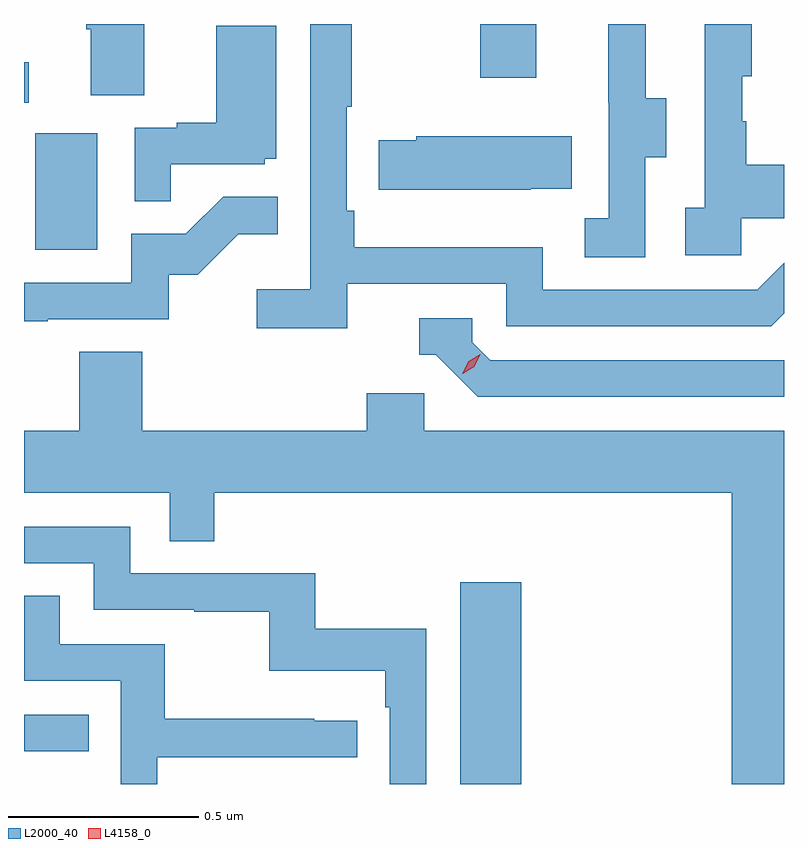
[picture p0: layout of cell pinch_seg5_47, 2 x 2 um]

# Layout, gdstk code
import gdstk
lib = gdstk.Library(unit=1e-6, precision=1e-09)
def R(c, l, rs):  # rectangles x0, y0, x1, y1
    for r in rs: c.add(gdstk.rectangle(r[:2], r[2:], *l))
def P(c, l, *ps):  # polygons
    for p in ps: c.add(gdstk.Polygon(p, *l))
L2000_40 = (2000, 40)
L4158_0 = (4158, 0)

pinch_seg5_47 = lib.new_cell('pinch_seg5_47')
R(pinch_seg5_47, L2000_40, [(1108.607,894.622,1108.768,895.153), (1107.459,894.708,1107.629,894.804), (1107.488,896.028,1107.652,896.335), (1107.459,896.415,1107.472,896.521), (1108.66,896.481,1108.807,896.622)])
P(pinch_seg5_47, L2000_40, [(1109.346,896.111),(1109.459,896.111),(1109.459,896.251),(1109.359,896.251),(1109.359,896.366),(1109.349,896.366),(1109.349,896.484),(1109.374,896.484),(1109.374,896.622),(1109.25,896.622),(1109.25,896.138),(1109.199,896.138),(1109.199,896.013),(1109.346,896.013)],
  [(1108.31,895.938),(1108.728,895.938),(1108.728,895.827),(1109.425,895.827),(1109.459,895.861),(1109.459,895.994),(1109.388,895.923),(1108.824,895.923),(1108.824,896.035),(1108.328,896.035),(1108.328,896.131),(1108.308,896.131),(1108.308,896.404),(1108.321,896.404),(1108.321,896.622),(1108.212,896.622),(1108.212,895.924),(1108.071,895.924),(1108.071,895.822),(1108.31,895.822)],
  [(1109.094,896.272),(1109.149,896.272),(1109.149,896.427),(1109.095,896.427),(1109.095,896.622),(1108.997,896.622),(1108.997,896.415),(1108.998,896.415),(1108.998,896.111),(1108.935,896.111),(1108.935,896.008),(1109.094,896.008)],
  [(1107.775,896.622),(1107.623,896.622),(1107.623,896.608),(1107.635,896.608),(1107.635,896.434),(1107.775,896.434)],
  [(1107.845,896.253),(1108.092,896.253),(1108.092,896.268),(1108.123,896.268),(1108.123,896.617),(1107.965,896.617),(1107.965,896.362),(1107.861,896.362),(1107.861,896.349),(1107.75,896.349),(1107.75,896.155),(1107.845,896.155)],
  [(1108.793,896.189),(1108.901,896.189),(1108.901,896.326),(1108.491,896.326),(1108.491,896.316),(1108.393,896.316),(1108.393,896.186),(1108.793,896.186)],
  [(1107.521,895.845),(1107.84,895.845),(1107.84,895.962),(1107.916,895.962),(1108.023,896.069),(1108.127,896.069),(1108.127,896.168),(1107.983,896.168),(1107.885,896.07),(1107.741,896.07),(1107.741,895.941),(1107.459,895.941),(1107.459,895.84),(1107.521,895.84)],
  [(1109.459,895.737),(1108.686,895.737),(1108.638,895.785),(1108.638,895.848),(1108.499,895.848),(1108.499,895.752),(1108.542,895.752),(1108.653,895.641),(1109.459,895.641)],
  [(1109.459,895.552),(1108.512,895.552),(1108.512,895.65),(1108.361,895.65),(1108.361,895.552),(1107.77,895.552),(1107.77,895.76),(1107.605,895.76),(1107.605,895.552),(1107.459,895.552),(1107.459,895.388),(1107.843,895.388),(1107.843,895.261),(1107.959,895.261),(1107.959,895.388),(1109.321,895.388),(1109.321,894.622),(1109.459,894.622)],
  [(1108.518,895.03),(1108.225,895.03),(1108.225,895.176),(1107.738,895.176),(1107.738,895.299),(1107.459,895.299),(1107.459,895.203),(1107.642,895.203),(1107.642,895.08),(1107.907,895.08),(1107.907,895.075),(1108.104,895.075),(1108.104,894.92),(1108.409,894.92),(1108.409,894.824),(1108.422,894.824),(1108.422,894.622),(1108.518,894.622)],
  [(1107.81,894.693),(1108.336,894.693),(1108.336,894.789),(1108.223,894.789),(1108.223,894.794),(1107.83,894.794),(1107.83,894.99),(1107.553,894.99),(1107.553,895.118),(1107.459,895.118),(1107.459,894.894),(1107.714,894.894),(1107.714,894.622),(1107.81,894.622)])
P(pinch_seg5_47, L4158_0, [(1108.612,895.701),(1108.612,895.701),(1108.629,895.734),(1108.66,895.753),(1108.66,895.753),(1108.66,895.753),(1108.644,895.72),(1108.613,895.701)])

lib.write_gds('pinch_seg5_47.gds')
